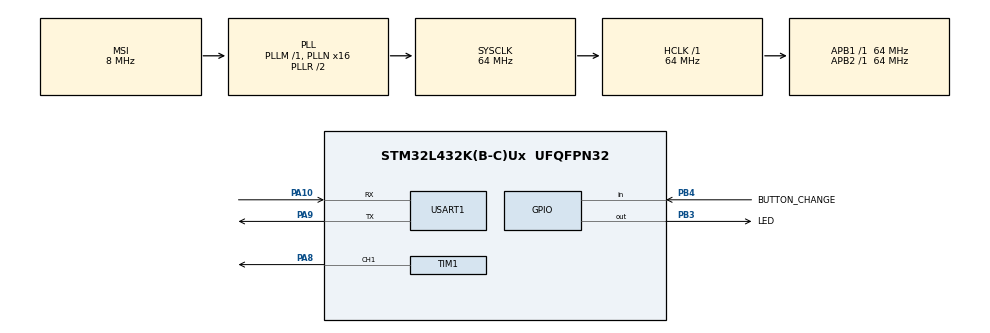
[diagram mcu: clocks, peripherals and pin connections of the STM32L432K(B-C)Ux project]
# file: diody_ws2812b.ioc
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Dma.Request0=TIM1_CH1
Dma.TIM1_CH1.0.Direction=DMA_MEMORY_TO_PERIPH
Dma.TIM1_CH1.0.Instance=DMA1_Channel2
Dma.TIM1_CH1.0.MemDataAlignment=DMA_MDATAALIGN_BYTE
Dma.TIM1_CH1.0.MemInc=DMA_MINC_ENABLE
Dma.TIM1_CH1.0.Mode=DMA_CIRCULAR
Dma.TIM1_CH1.0.PeriphDataAlignment=DMA_PDATAALIGN_HALFWORD
Dma.TIM1_CH1.0.PeriphInc=DMA_PINC_DISABLE
Dma.TIM1_CH1.0.Priority=DMA_PRIORITY_VERY_HIGH
Mcu.Family=STM32L4
Mcu.Name=STM32L432K(B-C)Ux
Mcu.Package=UFQFPN32
NVIC.DMA1_Channel2_IRQn=true\:0\:0\:false\:false\:true\:false\:true
NVIC.PriorityGroup=NVIC_PRIORITYGROUP_4
NVIC.USART1_IRQn=true\:0\:0\:false\:false\:true\:true\:true
PA10.Mode=Asynchronous
PA10.Signal=USART1_RX
PA8.Signal=S_TIM1_CH1
PA9.Mode=Asynchronous
PA9.Signal=USART1_TX
PB3\ (JTDO-TRACESWO).GPIO_Label=LED
PB3\ (JTDO-TRACESWO).Signal=GPIO_Output
PB4\ (NJTRST).GPIO_Label=BUTTON_CHANGE
PB4\ (NJTRST).GPIO_PuPd=GPIO_PULLUP
PB4\ (NJTRST).Signal=GPIO_Input
ProjectManager.HeapSize=0x200
ProjectManager.StackSize=0x400
ProjectManager.TargetToolchain=STM32CubeIDE
RCC.ADCFreq_Value=32000000
RCC.AHBFreq_Value=64000000
RCC.APB1Freq_Value=64000000
RCC.APB1TimFreq_Value=64000000
RCC.APB2Freq_Value=64000000
RCC.APB2TimFreq_Value=64000000
RCC.CortexFreq_Value=64000000
RCC.HCLKFreq_Value=64000000
RCC.HSE_VALUE=8000000
RCC.HSI48_VALUE=48000000
RCC.HSI_VALUE=16000000
RCC.LSE_VALUE=32768
RCC.MSIClockRange=RCC_MSIRANGE_7
RCC.MSI_VALUE=8000000
RCC.PLLN=16
RCC.SYSCLKFreq_VALUE=64000000
RCC.SYSCLKSource=RCC_SYSCLKSOURCE_PLLCLK
RCC.USBFreq_Value=32000000
RCC.VCOOutputFreq_Value=128000000
SH.S_TIM1_CH1.0=TIM1_CH1,PWM Generation1 CH1
TIM1.AutoReloadPreload=TIM_AUTORELOAD_PRELOAD_ENABLE
TIM1.Channel-PWM\ Generation1\ CH1=TIM_CHANNEL_1
TIM1.Period=79
TIM1.Prescaler=0
USART1.VirtualMode-Asynchronous=VM_ASYNC
VP_TIM1_VS_ClockSourceINT.Mode=Internal
board=custom

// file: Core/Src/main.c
/* USER CODE BEGIN Header */
/**
  ******************************************************************************
  * @file           : main.c
  * @brief          : Main program body
  ******************************************************************************
  * @attention
  *
  * <h2><center>&copy; Copyright (c) 2021 STMicroelectronics.
  * All rights reserved.</center></h2>
  *
  * This software component is licensed by ST under BSD 3-Clause license,
  * the "License"; You may not use this file except in compliance with the
  * License. You may obtain a copy of the License at:
  *                        opensource.org/licenses/BSD-3-Clause
  *
  ******************************************************************************
  */
/* USER CODE END Header */
#include "main.h"

TIM_HandleTypeDef htim1;
DMA_HandleTypeDef hdma_tim1_ch1;

UART_HandleTypeDef huart1;

void SystemClock_Config(void);
static void MX_GPIO_Init(void);
static void MX_DMA_Init(void);
static void MX_TIM1_Init(void);
static void MX_USART1_UART_Init(void);

/* USER CODE BEGIN 0 */

uint8_t end_transmission = 0;
uint8_t new_mode = 1;
uint8_t ws2812b_mode = EFFECT_360;
UART_HandleTypeDef * esp_uart = &huart1;

COLOR_RGB four_pieces_colors[4] =
{
		RED,
		BLUE,
		YELLOW,
		GREEN
};

COLOR_RGB knightrider_colors[3] =
{
		RED,
		YELLOW,
		PURPLE
};

/* USER CODE END 0 */

int main(void)
{

  /* MCU Configuration--------------------------------------------------------*/

  /* Reset of all peripherals, Initializes the Flash interface and the Systick. */
  HAL_Init();

  /* Configure the system clock */
  SystemClock_Config();

  /* Initialize all configured peripherals */
  MX_GPIO_Init();
  MX_DMA_Init();
  MX_TIM1_Init();
  MX_USART1_UART_Init();

  /* Infinite loop */
  while (1)
  {

    /* USER CODE BEGIN 3 */

	  switch (ws2812b_mode)
	  {
	  	  case EFFECT_360:
	  		  effect_360( &new_mode, WS2812B_LEDS, 100);
		  break;

	  	  case BRIGHTENING:
	  		  effect_brightening(&new_mode, WS2812B_LEDS, FUCHSIA, 10);
	  	  break;

	  	  case FOUR_PIECES:
	  		  effect_four_pieces(&new_mode, WS2812B_LEDS, four_pieces_colors, 200);
	  	  break;

	  	  case KNIGHTRIDER:
	  		  knightrider(&new_mode, WS2812B_LEDS, knightrider_colors, 100);
	  	  break;

	  }

	  buttons_handle();

  }
  /* USER CODE END 3 */
}

void SystemClock_Config(void)
{
  RCC_OscInitTypeDef RCC_OscInitStruct = {0};
  RCC_ClkInitTypeDef RCC_ClkInitStruct = {0};
  RCC_PeriphCLKInitTypeDef PeriphClkInit = {0};

  /** Initializes the RCC Oscillators according to the specified parameters
  * in the RCC_OscInitTypeDef structure.
  */
  RCC_OscInitStruct.OscillatorType = RCC_OSCILLATORTYPE_MSI;
  RCC_OscInitStruct.MSIState = RCC_MSI_ON;
  RCC_OscInitStruct.MSICalibrationValue = 0;
  RCC_OscInitStruct.MSIClockRange = RCC_MSIRANGE_7;
  RCC_OscInitStruct.PLL.PLLState = RCC_PLL_ON;
  RCC_OscInitStruct.PLL.PLLSource = RCC_PLLSOURCE_MSI;
  RCC_OscInitStruct.PLL.PLLM = 1;
  RCC_OscInitStruct.PLL.PLLN = 16;
  RCC_OscInitStruct.PLL.PLLP = RCC_PLLP_DIV7;
  RCC_OscInitStruct.PLL.PLLQ = RCC_PLLQ_DIV2;
  RCC_OscInitStruct.PLL.PLLR = RCC_PLLR_DIV2;
  if (HAL_RCC_OscConfig(&RCC_OscInitStruct) != HAL_OK)
  {
    Error_Handler();
  }
  /** Initializes the CPU, AHB and APB buses clocks
  */
  RCC_ClkInitStruct.ClockType = RCC_CLOCKTYPE_HCLK|RCC_CLOCKTYPE_SYSCLK
                              |RCC_CLOCKTYPE_PCLK1|RCC_CLOCKTYPE_PCLK2;
  RCC_ClkInitStruct.SYSCLKSource = RCC_SYSCLKSOURCE_PLLCLK;
  RCC_ClkInitStruct.AHBCLKDivider = RCC_SYSCLK_DIV1;
  RCC_ClkInitStruct.APB1CLKDivider = RCC_HCLK_DIV1;
  RCC_ClkInitStruct.APB2CLKDivider = RCC_HCLK_DIV1;

  if (HAL_RCC_ClockConfig(&RCC_ClkInitStruct, FLASH_LATENCY_3) != HAL_OK)
  {
    Error_Handler();
  }
  PeriphClkInit.PeriphClockSelection = RCC_PERIPHCLK_USART1;
  PeriphClkInit.Usart1ClockSelection = RCC_USART1CLKSOURCE_PCLK2;
  if (HAL_RCCEx_PeriphCLKConfig(&PeriphClkInit) != HAL_OK)
  {
    Error_Handler();
  }
  /** Configure the main internal regulator output voltage
  */
  if (HAL_PWREx_ControlVoltageScaling(PWR_REGULATOR_VOLTAGE_SCALE1) != HAL_OK)
  {
    Error_Handler();
  }
}

static void MX_TIM1_Init(void)
{

  TIM_ClockConfigTypeDef sClockSourceConfig = {0};
  TIM_MasterConfigTypeDef sMasterConfig = {0};
  TIM_OC_InitTypeDef sConfigOC = {0};
  TIM_BreakDeadTimeConfigTypeDef sBreakDeadTimeConfig = {0};

  htim1.Instance = TIM1;
  htim1.Init.Prescaler = 0;
  htim1.Init.CounterMode = TIM_COUNTERMODE_UP;
  htim1.Init.Period = 79;
  htim1.Init.ClockDivision = TIM_CLOCKDIVISION_DIV1;
  htim1.Init.RepetitionCounter = 0;
  htim1.Init.AutoReloadPreload = TIM_AUTORELOAD_PRELOAD_ENABLE;
  if (HAL_TIM_Base_Init(&htim1) != HAL_OK)
  {
    Error_Handler();
  }
  sClockSourceConfig.ClockSource = TIM_CLOCKSOURCE_INTERNAL;
  if (HAL_TIM_ConfigClockSource(&htim1, &sClockSourceConfig) != HAL_OK)
  {
    Error_Handler();
  }
  if (HAL_TIM_PWM_Init(&htim1) != HAL_OK)
  {
    Error_Handler();
  }
  sMasterConfig.MasterOutputTrigger = TIM_TRGO_RESET;
  sMasterConfig.MasterOutputTrigger2 = TIM_TRGO2_RESET;
  sMasterConfig.MasterSlaveMode = TIM_MASTERSLAVEMODE_DISABLE;
  if (HAL_TIMEx_MasterConfigSynchronization(&htim1, &sMasterConfig) != HAL_OK)
  {
    Error_Handler();
  }
  sConfigOC.OCMode = TIM_OCMODE_PWM1;
  sConfigOC.Pulse = 0;
  sConfigOC.OCPolarity = TIM_OCPOLARITY_HIGH;
  sConfigOC.OCNPolarity = TIM_OCNPOLARITY_HIGH;
  sConfigOC.OCFastMode = TIM_OCFAST_DISABLE;
  sConfigOC.OCIdleState = TIM_OCIDLESTATE_RESET;
  sConfigOC.OCNIdleState = TIM_OCNIDLESTATE_RESET;
  if (HAL_TIM_PWM_ConfigChannel(&htim1, &sConfigOC, TIM_CHANNEL_1) != HAL_OK)
  {
    Error_Handler();
  }
  sBreakDeadTimeConfig.OffStateRunMode = TIM_OSSR_DISABLE;
  sBreakDeadTimeConfig.OffStateIDLEMode = TIM_OSSI_DISABLE;
  sBreakDeadTimeConfig.LockLevel = TIM_LOCKLEVEL_OFF;
  sBreakDeadTimeConfig.DeadTime = 0;
  sBreakDeadTimeConfig.BreakState = TIM_BREAK_DISABLE;
  sBreakDeadTimeConfig.BreakPolarity = TIM_BREAKPOLARITY_HIGH;
  sBreakDeadTimeConfig.BreakFilter = 0;
  sBreakDeadTimeConfig.Break2State = TIM_BREAK2_DISABLE;
  sBreakDeadTimeConfig.Break2Polarity = TIM_BREAK2POLARITY_HIGH;
  sBreakDeadTimeConfig.Break2Filter = 0;
  sBreakDeadTimeConfig.AutomaticOutput = TIM_AUTOMATICOUTPUT_DISABLE;
  if (HAL_TIMEx_ConfigBreakDeadTime(&htim1, &sBreakDeadTimeConfig) != HAL_OK)
  {
    Error_Handler();
  }
  HAL_TIM_MspPostInit(&htim1);

}

static void MX_USART1_UART_Init(void)
{

  huart1.Instance = USART1;
  huart1.Init.BaudRate = 115200;
  huart1.Init.WordLength = UART_WORDLENGTH_8B;
  huart1.Init.StopBits = UART_STOPBITS_1;
  huart1.Init.Parity = UART_PARITY_NONE;
  huart1.Init.Mode = UART_MODE_TX_RX;
  huart1.Init.HwFlowCtl = UART_HWCONTROL_NONE;
  huart1.Init.OverSampling = UART_OVERSAMPLING_16;
  huart1.Init.OneBitSampling = UART_ONE_BIT_SAMPLE_DISABLE;
  huart1.AdvancedInit.AdvFeatureInit = UART_ADVFEATURE_NO_INIT;
  if (HAL_UART_Init(&huart1) != HAL_OK)
  {
    Error_Handler();
  }

}

static void MX_DMA_Init(void)
{

  /* DMA controller clock enable */
  __HAL_RCC_DMA1_CLK_ENABLE();

  /* DMA interrupt init */
  /* DMA1_Channel2_IRQn interrupt configuration */
  HAL_NVIC_SetPriority(DMA1_Channel2_IRQn, 0, 0);
  HAL_NVIC_EnableIRQ(DMA1_Channel2_IRQn);

}

static void MX_GPIO_Init(void)
{
  GPIO_InitTypeDef GPIO_InitStruct = {0};

  /* GPIO Ports Clock Enable */
  __HAL_RCC_GPIOA_CLK_ENABLE();
  __HAL_RCC_GPIOB_CLK_ENABLE();

  /*Configure GPIO pin Output Level */
  HAL_GPIO_WritePin(LED_GPIO_Port, LED_Pin, GPIO_PIN_RESET);

  /*Configure GPIO pin : LED_Pin */
  GPIO_InitStruct.Pin = LED_Pin;
  GPIO_InitStruct.Mode = GPIO_MODE_OUTPUT_PP;
  GPIO_InitStruct.Pull = GPIO_NOPULL;
  GPIO_InitStruct.Speed = GPIO_SPEED_FREQ_LOW;
  HAL_GPIO_Init(LED_GPIO_Port, &GPIO_InitStruct);

  /*Configure GPIO pin : BUTTON_CHANGE_Pin */
  GPIO_InitStruct.Pin = BUTTON_CHANGE_Pin;
  GPIO_InitStruct.Mode = GPIO_MODE_INPUT;
  GPIO_InitStruct.Pull = GPIO_PULLUP;
  HAL_GPIO_Init(BUTTON_CHANGE_GPIO_Port, &GPIO_InitStruct);

}

/* USER CODE BEGIN 4 */

extern ws2812b_color ws2812b_array[WS2812B_LEDS];
extern uint16_t actual_led;;
extern uint8_t reset_pulse;
extern volatile uint8_t led_buffer[48];
extern volatile uint8_t busy_flag;

void HAL_TIM_PWM_PulseFinishedHalfCpltCallback(TIM_HandleTypeDef *htim)
{
	if(reset_pulse == 1)
	{
		//wypelniamy 1-24
		if (WS2812B_LEDS > 0)
		{

			//Even 0, 2, 4
			uint8_t j = 0;
			//GREEN
			for(int8_t k=7; k>=0; k--)
			{
				if((ws2812b_array[actual_led].green & (1<<k)) == 0)
					led_buffer[j] = zero;
				else
					led_buffer[j] = one;
				j++;
			}

			//RED
			for(int8_t k=7; k>=0; k--)
			{
				if((ws2812b_array[actual_led].red & (1<<k)) == 0)
					led_buffer[j] = zero;
				else
					led_buffer[j] = one;
				j++;
			}

			//BLUE
			for(int8_t k=7; k>=0; k--)
			{
				if((ws2812b_array[actual_led].blue & (1<<k)) == 0)
					led_buffer[j] = zero;
				else
					led_buffer[j] = one;
				j++;
			}

			actual_led++;
		}
	}
	else if (reset_pulse == 2)
	{
		reset_pulse = 3;
		memset( (void*)led_buffer, 0, 24);
	}
	else if (reset_pulse == 3)
	{
		reset_pulse = 0;
		end_transmission = 1;
	}
	else if (end_transmission)
	{
		end_transmission = 0;
		HAL_GPIO_WritePin(LED_GPIO_Port, LED_Pin, GPIO_PIN_RESET);
		HAL_TIM_PWM_Stop_DMA( &htim1, TIM_CHANNEL_1);
		busy_flag = 0;
	}
	else //kolejna dioda
	{
		if(actual_led >= WS2812B_LEDS)
		{
			reset_pulse = 2;
			memset( (void*)led_buffer, 0, 24);
		}
		else if(actual_led < WS2812B_LEDS)
		{

			//Even 0, 2, 4
			uint8_t j = 0;
			//GREEN
			for(int8_t k=7; k>=0; k--)
			{
				if((ws2812b_array[actual_led].green & (1<<k)) == 0)
					led_buffer[j] = zero;
				else
					led_buffer[j] = one;
				j++;
			}

			//RED
			for(int8_t k=7; k>=0; k--)
			{
				if((ws2812b_array[actual_led].red & (1<<k)) == 0)
					led_buffer[j] = zero;
				else
					led_buffer[j] = one;
				j++;
			}

			//BLUE
			for(int8_t k=7; k>=0; k--)
			{
				if((ws2812b_array[actual_led].blue & (1<<k)) == 0)
					led_buffer[j] = zero;
				else
					led_buffer[j] = one;
				j++;
			}

			actual_led++;
		}
	}
}

void HAL_TIM_PWM_PulseFinishedCallback(TIM_HandleTypeDef *htim)
{

	if ( reset_pulse == 1)
	{
		reset_pulse = 0; //koniec wysylania sygnalu resetu

		if ( (actual_led < WS2812B_LEDS) && (WS2812B_LEDS > 0) )
		{

			// Odd LEDs 1, 3, 5
			uint8_t j = 24;
			//GREEN
			for(int8_t k=7; k>=0; k--)
			{
				if((ws2812b_array[actual_led].green & (1<<k)) == 0)
					led_buffer[j] = zero;
				else
					led_buffer[j] = one;
				j++;
			}

			//RED
			for(int8_t k=7; k>=0; k--)
			{
				if((ws2812b_array[actual_led].red & (1<<k)) == 0)
					led_buffer[j] = zero;
				else
					led_buffer[j] = one;
				j++;
			}

			//BLUE
			for(int8_t k=7; k>=0; k--)
			{
				if((ws2812b_array[actual_led].blue & (1<<k)) == 0)
					led_buffer[j] = zero;
				else
					led_buffer[j] = one;
				j++;
			}

			actual_led++;
		}
		else //juz nie ma wiecej diod trzeba generowac koncowy reset
		{
			reset_pulse = 2;
			memset( (void*)&led_buffer[24], 0, 24);
		}
	}
	else if (reset_pulse == 2)
	{
		reset_pulse = 3;
		memset( (void*)&led_buffer[24], 0, 24);
	}
	else if (reset_pulse == 3)
	{
		reset_pulse = 0;
		end_transmission = 1;
	}
	else if (end_transmission)
	{
		end_transmission = 0;
		HAL_GPIO_WritePin(LED_GPIO_Port, LED_Pin, GPIO_PIN_RESET);
		HAL_TIM_PWM_Stop_DMA( &htim1, TIM_CHANNEL_1);
		busy_flag = 0;
	}
	else //kolejna dioda
	{
		if(actual_led >= WS2812B_LEDS)
		{
			reset_pulse = 2;
			memset( (void*)&led_buffer[24], 0, 24);
		}
		else if(actual_led < WS2812B_LEDS)
		{

			// Odd LEDs 1, 3, 5
			uint8_t j = 24;
			//GREEN
			for(int8_t k=7; k>=0; k--)
			{
				if((ws2812b_array[actual_led].green & (1<<k)) == 0)
					led_buffer[j] = zero;
				else
					led_buffer[j] = one;
				j++;
			}

			//RED
			for(int8_t k=7; k>=0; k--)
			{
				if((ws2812b_array[actual_led].red & (1<<k)) == 0)
					led_buffer[j] = zero;
				else
					led_buffer[j] = one;
				j++;
			}

			//BLUE
			for(int8_t k=7; k>=0; k--)
			{
				if((ws2812b_array[actual_led].blue & (1<<k)) == 0)
					led_buffer[j] = zero;
				else
					led_buffer[j] = one;
				j++;
			}

			actual_led++;
		}
	}
}

void pwm_dma_start(void)
{
	HAL_TIM_PWM_Start_DMA(&htim1, TIM_CHANNEL_1, (uint32_t *)&led_buffer[0], 48);
}

/* USER CODE END 4 */

void Error_Handler(void)
{
}

/************************ (C) COPYRIGHT STMicroelectronics *****END OF FILE****/
